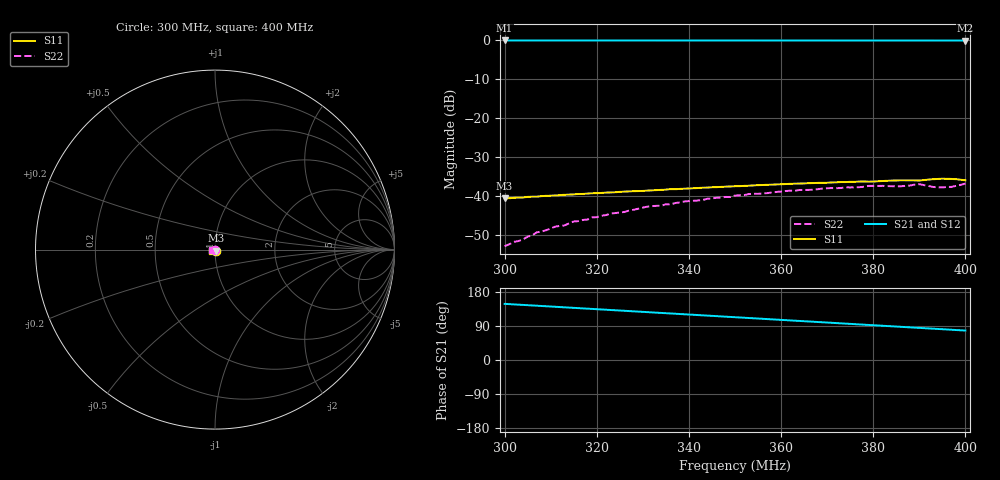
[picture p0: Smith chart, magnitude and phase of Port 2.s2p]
! RsaToolbox (C) 2014 Rohde & Schwarz America
! Number of points: 101
! Number of ports: 2
! Balanced ports?: No
# Hz S RI R 50
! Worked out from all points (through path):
!   101 points, 300 MHz to 400 MHz, reference 50 ohm
!   highest |S21| = -0.12 dB at 300 MHz (marker M1); lowest = -0.1 dB at 400 MHz (marker M2)
!   group delay of S21, straight-line fit = 1.96 ns
!   lowest |S11| = -40.5 dB at 300 MHz (marker M3), VSWR 1.02, Z = 50.8 - j0.552 ohm
!   |S11| at or under -10 dB: start of sweep to end of sweep
!   |S22| runs from -52.7 to -36.7 dB; largest |S21 - S12| = 0
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3e8  0.00767 -0.00544  -0.8378 0.5201  -0.8378 0.5201  0.00122 -0.00196
3.02e8  0.00756 -0.00588  -0.8247 0.5405  -0.8247 0.5405  0.00105 -0.0024
3.04e8  0.00737 -0.00629  -0.8112 0.5606  -0.8112 0.5606  0.000709 -0.00273
3.07e8  0.00698 -0.00704  -0.7899 0.5901  -0.7899 0.5901  0.000415 -0.00345
3.09e8  0.00681 -0.00754  -0.7751 0.6093  -0.7751 0.6093  0.000307 -0.00368
3.11e8  0.00648 -0.00797  -0.7599 0.6282  -0.7599 0.6282  4.19e-05 -0.00411
3.13e8  0.00625 -0.00841  -0.7442 0.6466  -0.7442 0.6466  -0.000195 -0.00425
3.15e8  0.00596 -0.00877  -0.728 0.6648  -0.728 0.6648  -0.000463 -0.00476
3.17e8  0.00559 -0.00918  -0.7114 0.6824  -0.7114 0.6824  -0.000682 -0.00495
3.31e8  0.00259 -0.0116  -0.5837 0.794  -0.5837 0.794  -0.00296 -0.00678
3.34e8  0.00186 -0.012  -0.5539 0.815  -0.5539 0.815  -0.00364 -0.00666
3.39e8  0.000558 -0.0125  -0.5028 0.8474  -0.5028 0.8474  -0.00487 -0.00709
3.49e8  -0.00215 -0.0132  -0.3949 0.9025  -0.3949 0.9025  -0.00683 -0.00705
3.5e8  -0.00254 -0.0132  -0.3838 0.9073  -0.3838 0.9073  -0.00704 -0.00744
3.67e8  -0.0073 -0.0129  -0.1869 0.9669  -0.1869 0.9669  -0.0107 -0.00585
3.79e8  -0.0104 -0.0114  -0.0428 0.9836  -0.0428 0.9836  -0.0129 -0.00441
3.84e8  -0.0116 -0.0109  0.0178 0.9843  0.0178 0.9843  -0.0131 -0.00326
3.9e8  -0.0128 -0.00953  0.0903 0.9802  0.0903 0.9802  -0.0141 -0.00253
3.93e8  -0.0138 -0.00924  0.1264 0.9761  0.1264 0.9761  -0.013 -0.00201
3.95e8  -0.0144 -0.00877  0.1503 0.9727  0.1503 0.9727  -0.0128 -0.00199
3.97e8  -0.0146 -0.00812  0.1742 0.9687  0.1742 0.9687  -0.0131 -0.00176
4e8  -0.0144 -0.00718  0.2099 0.9615  0.2099 0.9615  -0.0145 -0.000874
